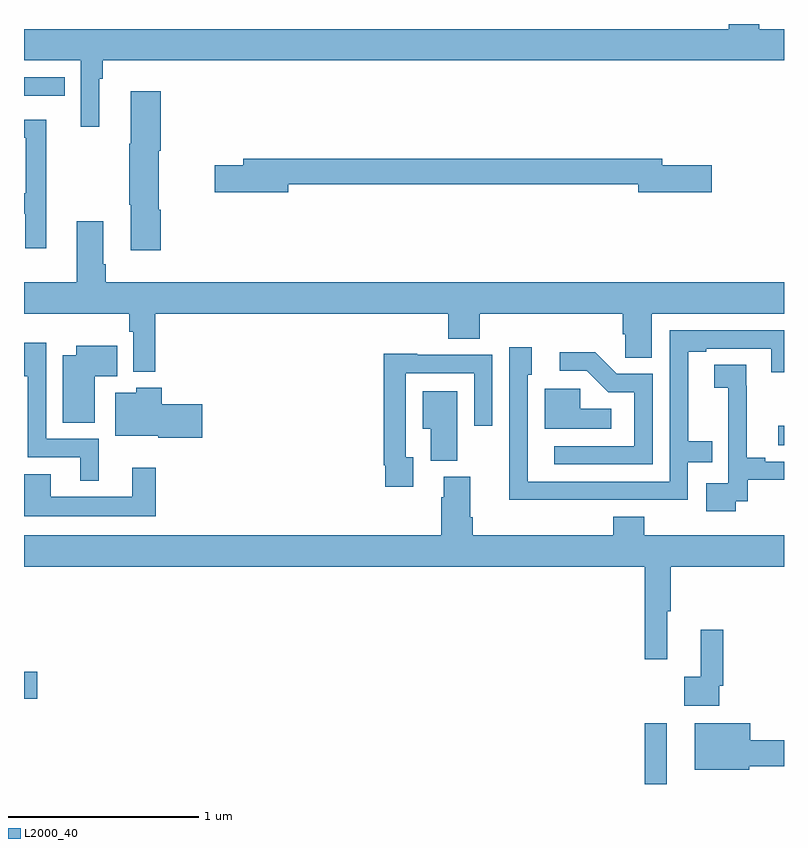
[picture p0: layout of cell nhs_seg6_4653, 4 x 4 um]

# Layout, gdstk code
import gdstk
lib = gdstk.Library(unit=1e-6, precision=1e-09)
def R(c, l, rs):  # rectangles x0, y0, x1, y1
    for r in rs: c.add(gdstk.rectangle(r[:2], r[2:], *l))
def P(c, l, *ps):  # polygons
    for p in ps: c.add(gdstk.Polygon(p, *l))
L2000_40 = (2000, 40)

nhs_seg6_4653 = lib.new_cell('nhs_seg6_4653')
R(nhs_seg6_4653, L2000_40, [(388.267,971.5,388.384,971.821), (385,971.95,385.069,972.092), (388.97,973.282,389,973.386), (385,975.123,385.214,975.219)])
P(nhs_seg6_4653, L2000_40, [(385.396,975.212),(385.415,975.212),(385.415,975.308),(389,975.308),(389,975.472),(388.869,975.472),(388.869,975.5),(388.709,975.5),(388.709,975.472),(385,975.472),(385,975.308),(385.299,975.308),(385.299,974.958),(385.396,974.958)],
  [(385.721,974.522),(385.708,974.522),(385.708,974.832),(385.721,974.832),(385.721,975.145),(385.562,975.145),(385.562,974.87),(385.555,974.87),(385.555,974.548),(385.562,974.548),(385.562,974.31),(385.721,974.31)],
  [(385.117,974.995),(385,974.995),(385,974.901),(385.008,974.901),(385.008,974.61),(385,974.61),(385,974.502),(385.007,974.502),(385.007,974.319),(385.117,974.319)],
  [(386.392,974.656),(388.232,974.656),(388.232,974.614),(388.621,974.614),(388.621,974.756),(388.36,974.756),(388.36,974.792),(386.153,974.792),(386.153,974.756),(386.004,974.756),(386.004,974.614),(386.392,974.614)],
  [(385.691,973.976),(387.233,973.976),(387.233,973.843),(387.398,973.843),(387.398,973.976),(388.151,973.976),(388.151,973.867),(388.164,973.867),(388.164,973.744),(388.303,973.744),(388.303,973.976),(389,973.976),(389,974.14),(385.43,974.14),(385.43,974.236),(385.417,974.236),(385.417,974.461),(385.277,974.461),(385.277,974.14),(385,974.14),(385,973.976),(385.555,973.976),(385.555,973.88),(385.575,973.88),(385.575,973.67),(385.691,973.67)],
  [(388.016,972.996),(388.494,972.996),(388.494,973.194),(388.622,973.194),(388.622,973.303),(388.495,973.303),(388.495,973.776),(388.591,973.776),(388.591,973.791),(388.932,973.791),(388.932,973.668),(389,973.668),(389,973.887),(388.398,973.887),(388.398,973.092),(387.651,973.092),(387.651,973.653),(387.673,973.653),(387.673,973.798),(387.555,973.798),(387.555,973.298),(387.554,973.298),(387.554,972.995),(388.016,972.995)],
  [(385.393,973.317),(385.116,973.317),(385.116,973.822),(385,973.822),(385,973.645),(385.019,973.645),(385.019,973.221),(385.295,973.221),(385.295,973.097),(385.393,973.097)],
  [(385.372,973.646),(385.49,973.646),(385.49,973.807),(385.274,973.807),(385.274,973.756),(385.205,973.756),(385.205,973.402),(385.372,973.402)],
  [(388.308,973.659),(388.119,973.659),(388.006,973.772),(387.819,973.772),(387.819,973.674),(387.963,973.674),(388.074,973.563),(388.212,973.563),(388.212,973.278),(387.792,973.278),(387.792,973.182),(388.308,973.182)],
  [(387.049,973.221),(387.009,973.221),(387.009,973.662),(387.369,973.662),(387.369,973.386),(387.465,973.386),(387.465,973.758),(387.069,973.758),(387.069,973.765),(386.893,973.765),(386.893,973.177),(386.901,973.177),(386.901,973.065),(387.049,973.065)],
  [(388.746,972.987),(388.808,972.987),(388.808,973.101),(389,973.101),(389,973.197),(388.9,973.197),(388.9,973.217),(388.804,973.217),(388.804,973.595),(388.802,973.595),(388.802,973.706),(388.632,973.706),(388.632,973.585),(388.706,973.585),(388.706,973.387),(388.707,973.387),(388.707,973.083),(388.59,973.083),(388.59,972.936),(388.746,972.936)],
  [(385.939,973.5),(385.724,973.5),(385.724,973.585),(385.59,973.585),(385.59,973.558),(385.481,973.558),(385.481,973.334),(385.707,973.334),(385.707,973.322),(385.939,973.322)],
  [(388.09,973.474),(387.927,973.474),(387.927,973.581),(387.74,973.581),(387.74,973.37),(388.09,973.37)],
  [(387.28,973.567),(387.098,973.567),(387.098,973.37),(387.14,973.37),(387.14,973.201),(387.28,973.201)],
  [(385.693,973.165),(385.571,973.165),(385.571,973.012),(385.141,973.012),(385.141,973.131),(385,973.131),(385,973.035),(385.001,973.035),(385.001,972.908),(385.693,972.908)],
  [(388.385,972.408),(388.403,972.408),(388.403,972.644),(389,972.644),(389,972.808),(388.265,972.808),(388.265,972.907),(388.1,972.907),(388.1,972.808),(387.362,972.808),(387.362,972.904),(387.349,972.904),(387.349,973.116),(387.209,973.116),(387.209,973.01),(387.197,973.01),(387.197,972.808),(385,972.808),(385,972.644),(388.267,972.644),(388.267,972.156),(388.385,972.156)],
  [(388.659,972.016),(388.679,972.016),(388.679,972.313),(388.562,972.313),(388.562,972.065),(388.476,972.065),(388.476,971.912),(388.659,971.912)],
  [(388.818,971.594),(389,971.594),(389,971.729),(388.822,971.729),(388.822,971.821),(388.529,971.821),(388.529,971.576),(388.818,971.576)])

lib.write_gds('nhs_seg6_4653.gds')
